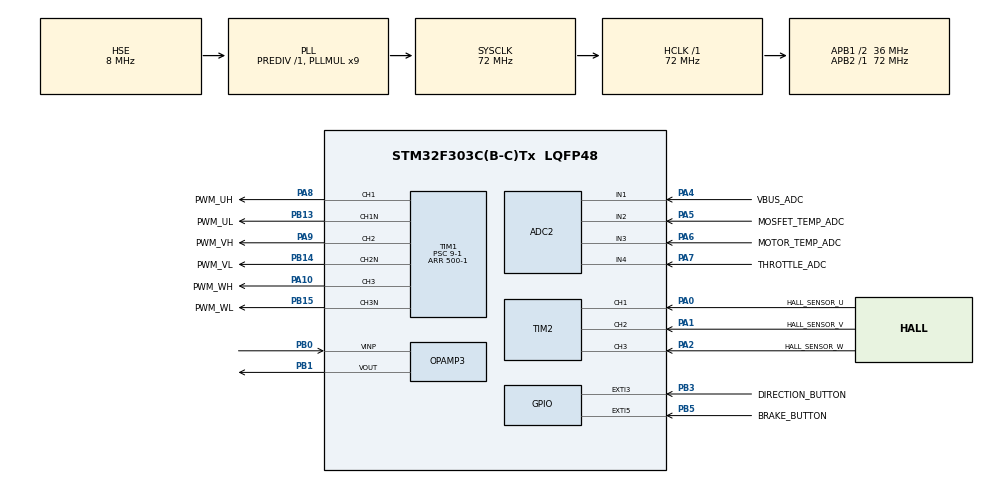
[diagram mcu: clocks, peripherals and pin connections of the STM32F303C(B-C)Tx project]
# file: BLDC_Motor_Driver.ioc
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ADC2.Channel-0\#ChannelRegularConversion=ADC_CHANNEL_1
ADC2.Channel-1\#ChannelRegularConversion=ADC_CHANNEL_2
ADC2.Channel-2\#ChannelRegularConversion=ADC_CHANNEL_4
ADC2.Channel-3\#ChannelRegularConversion=ADC_CHANNEL_4
ADC2.ContinuousConvMode=ENABLE
ADC2.DMAContinuousRequests=ENABLE
ADC2.NbrOfConversion=4
ADC2.NbrOfConversionFlag=1
ADC2.Offset-0\#ChannelRegularConversion=0
ADC2.Offset-1\#ChannelRegularConversion=0
ADC2.Offset-2\#ChannelRegularConversion=0
ADC2.Offset-3\#ChannelRegularConversion=0
ADC2.OffsetNumber-0\#ChannelRegularConversion=ADC_OFFSET_NONE
ADC2.OffsetNumber-1\#ChannelRegularConversion=ADC_OFFSET_NONE
ADC2.OffsetNumber-2\#ChannelRegularConversion=ADC_OFFSET_NONE
ADC2.OffsetNumber-3\#ChannelRegularConversion=ADC_OFFSET_NONE
ADC2.Rank-0\#ChannelRegularConversion=1
ADC2.Rank-1\#ChannelRegularConversion=2
ADC2.Rank-2\#ChannelRegularConversion=3
ADC2.Rank-3\#ChannelRegularConversion=4
ADC2.SamplingTime-0\#ChannelRegularConversion=ADC_SAMPLETIME_601CYCLES_5
ADC2.SamplingTime-1\#ChannelRegularConversion=ADC_SAMPLETIME_601CYCLES_5
ADC2.SamplingTime-2\#ChannelRegularConversion=ADC_SAMPLETIME_601CYCLES_5
ADC2.SamplingTime-3\#ChannelRegularConversion=ADC_SAMPLETIME_601CYCLES_5
ADC2.SamplingTimeOPAMP-1\#ChannelRegularConversion=ADC_SAMPLETIME_61CYCLES_5
ADC2.SamplingTimeOPAMP-2\#ChannelRegularConversion=ADC_SAMPLETIME_61CYCLES_5
ADC2.SamplingTimeOPAMP-3\#ChannelRegularConversion=ADC_SAMPLETIME_61CYCLES_5
ADC3.Channel-0\#ChannelRegularConversion=ADC_CHANNEL_1
ADC3.ContinuousConvMode=ENABLE
ADC3.DMAContinuousRequests=ENABLE
ADC3.NbrOfConversionFlag=1
ADC3.Offset-0\#ChannelRegularConversion=0
ADC3.OffsetNumber-0\#ChannelRegularConversion=ADC_OFFSET_NONE
ADC3.Rank-0\#ChannelRegularConversion=1
ADC3.SamplingTime-0\#ChannelRegularConversion=ADC_SAMPLETIME_601CYCLES_5
ADC3.SamplingTimeOPAMP-0\#ChannelRegularConversion=ADC_SAMPLETIME_601CYCLES_5
ADC3.master=1
Dma.ADC2.0.Direction=DMA_PERIPH_TO_MEMORY
Dma.ADC2.0.Instance=DMA2_Channel1
Dma.ADC2.0.MemDataAlignment=DMA_MDATAALIGN_HALFWORD
Dma.ADC2.0.MemInc=DMA_MINC_ENABLE
Dma.ADC2.0.Mode=DMA_CIRCULAR
Dma.ADC2.0.PeriphDataAlignment=DMA_PDATAALIGN_HALFWORD
Dma.ADC2.0.PeriphInc=DMA_PINC_DISABLE
Dma.ADC2.0.Priority=DMA_PRIORITY_LOW
Dma.ADC3.1.Direction=DMA_PERIPH_TO_MEMORY
Dma.ADC3.1.Instance=DMA2_Channel5
Dma.ADC3.1.MemDataAlignment=DMA_MDATAALIGN_HALFWORD
Dma.ADC3.1.MemInc=DMA_MINC_ENABLE
Dma.ADC3.1.Mode=DMA_CIRCULAR
Dma.ADC3.1.PeriphDataAlignment=DMA_PDATAALIGN_HALFWORD
Dma.ADC3.1.PeriphInc=DMA_PINC_DISABLE
Dma.ADC3.1.Priority=DMA_PRIORITY_LOW
Dma.Request0=ADC2
Dma.Request1=ADC3
Mcu.Family=STM32F3
Mcu.Name=STM32F303C(B-C)Tx
Mcu.Package=LQFP48
NVIC.DMA2_Channel1_IRQn=true\:0\:0\:false\:false\:true\:false\:true\:true
NVIC.DMA2_Channel5_IRQn=true\:0\:0\:false\:false\:true\:false\:true\:true
NVIC.EXTI3_IRQn=true\:0\:0\:false\:false\:true\:true\:true\:true
NVIC.EXTI9_5_IRQn=true\:0\:0\:false\:false\:true\:true\:true\:true
NVIC.PriorityGroup=NVIC_PRIORITYGROUP_4
NVIC.TIM2_IRQn=true\:0\:0\:false\:false\:true\:true\:true\:true
OPAMP3.PgaGain=OPAMP_PGA_GAIN_16
PA0.GPIO_Label=HALL_SENSOR_U
PA0.Signal=S_TIM2_CH1_ETR
PA1.GPIO_Label=HALL_SENSOR_V
PA1.Signal=S_TIM2_CH2
PA10.GPIO_Label=PWM_WH
PA10.Signal=S_TIM1_CH3
PA2.GPIO_Label=HALL_SENSOR_W
PA2.Signal=S_TIM2_CH3
PA4.GPIO_Label=VBUS_ADC
PA4.Mode=IN1-Single-Ended
PA4.Signal=ADC2_IN1
PA5.GPIO_Label=MOSFET_TEMP_ADC
PA5.Mode=IN2-Single-Ended
PA5.Signal=ADC2_IN2
PA6.GPIO_Label=MOTOR_TEMP_ADC
PA6.Mode=IN3-Single-Ended
PA6.Signal=ADC2_IN3
PA7.GPIO_Label=THROTTLE_ADC
PA7.Mode=IN4-Single-Ended
PA7.Signal=ADC2_IN4
PA8.GPIO_Label=PWM_UH
PA8.Signal=S_TIM1_CH1
PA9.GPIO_Label=PWM_VH
PA9.Signal=S_TIM1_CH2
PB0.Mode=PGA Not Connected
PB0.Signal=OPAMP3_VINP
PB1.Mode=PGA Not Connected
PB1.Signal=OPAMP3_VOUT
PB13.GPIO_Label=PWM_UL
PB13.Mode=PWM Generation1 CH1 CH1N
PB13.Signal=TIM1_CH1N
PB14.GPIO_Label=PWM_VL
PB14.Mode=PWM Generation2 CH2 CH2N
PB14.Signal=TIM1_CH2N
PB15.GPIO_Label=PWM_WL
PB15.Mode=PWM Generation3 CH3 CH3N
PB15.Signal=TIM1_CH3N
PB3.GPIO_Label=DIRECTION_BUTTON
PB3.GPIO_ModeDefaultEXTI=GPIO_MODE_IT_RISING_FALLING
PB3.GPIO_PuPd=GPIO_PULLUP
PB3.Signal=GPXTI3
PB5.GPIO_Label=BRAKE_BUTTON
PB5.GPIO_ModeDefaultEXTI=GPIO_MODE_IT_RISING_FALLING
PB5.GPIO_PuPd=GPIO_PULLUP
PB5.Signal=GPXTI5
PF0-OSC_IN.Mode=HSE-External-Oscillator
PF0-OSC_IN.Signal=RCC_OSC_IN
PF1-OSC_OUT.Mode=HSE-External-Oscillator
PF1-OSC_OUT.Signal=RCC_OSC_OUT
ProjectManager.HeapSize=0x200
ProjectManager.StackSize=0x400
ProjectManager.TargetToolchain=CMake
RCC.AHBFreq_Value=72000000
RCC.APB1CLKDivider=RCC_HCLK_DIV2
RCC.APB1Freq_Value=36000000
RCC.APB1TimFreq_Value=72000000
RCC.APB2Freq_Value=72000000
RCC.APB2TimFreq_Value=72000000
RCC.CortexFreq_Value=72000000
RCC.HCLKFreq_Value=72000000
RCC.HSE_VALUE=8000000
RCC.HSI_VALUE=8000000
RCC.LSE_VALUE=32768
RCC.PLLMUL=RCC_PLL_MUL9
RCC.PLLSourceVirtual=RCC_PLLSOURCE_HSE
RCC.SYSCLKFreq_VALUE=72000000
RCC.SYSCLKSourceVirtual=RCC_SYSCLKSOURCE_PLLCLK
RCC.USBFreq_Value=72000000
SH.S_TIM1_CH1.0=TIM1_CH1,PWM Generation1 CH1 CH1N
SH.S_TIM1_CH2.0=TIM1_CH2,PWM Generation2 CH2 CH2N
SH.S_TIM1_CH3.0=TIM1_CH3,PWM Generation3 CH3 CH3N
SH.S_TIM2_CH1_ETR.0=TIM2_CH1,Xored_Inputs_Hall_Sensor_Interface
SH.S_TIM2_CH2.0=TIM2_CH2,Xored_Inputs_Hall_Sensor_Interface
SH.S_TIM2_CH3.0=TIM2_CH3,Xored_Inputs_Hall_Sensor_Interface
TIM1.AutoReloadPreload=TIM_AUTORELOAD_PRELOAD_ENABLE
TIM1.Channel-PWM\ Generation1\ CH1\ CH1N=TIM_CHANNEL_1
TIM1.Channel-PWM\ Generation2\ CH2\ CH2N=TIM_CHANNEL_2
TIM1.Channel-PWM\ Generation3\ CH3\ CH3N=TIM_CHANNEL_3
TIM1.DeadTime=8
TIM1.Period=500-1
TIM1.Prescaler=9-1
VP_ADC3_OPAMP_OUT3.Mode=IN1-OPAMP3-Single-Ended
board=custom

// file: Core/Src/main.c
/* USER CODE BEGIN Header */
/**
  ******************************************************************************
  * @file           : main.c
  * @brief          : Main program body
  ******************************************************************************
  * @attention
  *
  * Copyright (c) 2025 STMicroelectronics.
  * All rights reserved.
  *
  * This software is licensed under terms that can be found in the LICENSE file
  * in the root directory of this software component.
  * If no LICENSE file comes with this software, it is provided AS-IS.
  *
  ******************************************************************************
  */
/* USER CODE END Header */
#include "main.h"
#include "adc.h"
#include "dma.h"
#include "opamp.h"
#include "tim.h"
#include "gpio.h"

/* USER CODE BEGIN Includes */
#include "motor_control.h"
#include "hal_adc.h"
#include "hal_timer.h"
#include "current_sensor.h"
#include "filter.h"

/* USER CODE END Includes */

/* USER CODE BEGIN PV */
uint16_t phase_current;
uint16_t phase_current_filtered;

/* USER CODE END PV */

void SystemClock_Config(void);

int main(void)
{

  /* MCU Configuration--------------------------------------------------------*/

  /* Reset of all peripherals, Initializes the Flash interface and the Systick. */
  HAL_Init();

  /* Configure the system clock */
  SystemClock_Config();

  /* Initialize all configured peripherals */
  MX_GPIO_Init();
  MX_DMA_Init();
  MX_ADC2_Init();
  MX_TIM2_Init();
  MX_TIM1_Init();
  MX_ADC3_Init();
  MX_OPAMP3_Init();
  /* USER CODE BEGIN 2 */
  hal_timer2_input_capture_start();
  app_motor_control_init();

  /* USER CODE END 2 */

  /* Infinite loop */
  /* USER CODE BEGIN WHILE */
  app_init();
  while (1)
  {
	  app_motor_control_task();
	  phase_current = ecal_current_sensor_get_phase_current();
	  HAL_Delay(10);
    /* USER CODE END WHILE */

  }
}

void SystemClock_Config(void)
{
  RCC_OscInitTypeDef RCC_OscInitStruct = {0};
  RCC_ClkInitTypeDef RCC_ClkInitStruct = {0};
  RCC_PeriphCLKInitTypeDef PeriphClkInit = {0};

  /** Initializes the RCC Oscillators according to the specified parameters
  * in the RCC_OscInitTypeDef structure.
  */
  RCC_OscInitStruct.OscillatorType = RCC_OSCILLATORTYPE_HSE;
  RCC_OscInitStruct.HSEState = RCC_HSE_ON;
  RCC_OscInitStruct.HSEPredivValue = RCC_HSE_PREDIV_DIV1;
  RCC_OscInitStruct.HSIState = RCC_HSI_ON;
  RCC_OscInitStruct.PLL.PLLState = RCC_PLL_ON;
  RCC_OscInitStruct.PLL.PLLSource = RCC_PLLSOURCE_HSE;
  RCC_OscInitStruct.PLL.PLLMUL = RCC_PLL_MUL9;
  if (HAL_RCC_OscConfig(&RCC_OscInitStruct) != HAL_OK)
  {
    Error_Handler();
  }

  /** Initializes the CPU, AHB and APB buses clocks
  */
  RCC_ClkInitStruct.ClockType = RCC_CLOCKTYPE_HCLK|RCC_CLOCKTYPE_SYSCLK
                              |RCC_CLOCKTYPE_PCLK1|RCC_CLOCKTYPE_PCLK2;
  RCC_ClkInitStruct.SYSCLKSource = RCC_SYSCLKSOURCE_PLLCLK;
  RCC_ClkInitStruct.AHBCLKDivider = RCC_SYSCLK_DIV1;
  RCC_ClkInitStruct.APB1CLKDivider = RCC_HCLK_DIV2;
  RCC_ClkInitStruct.APB2CLKDivider = RCC_HCLK_DIV1;

  if (HAL_RCC_ClockConfig(&RCC_ClkInitStruct, FLASH_LATENCY_2) != HAL_OK)
  {
    Error_Handler();
  }
  PeriphClkInit.PeriphClockSelection = RCC_PERIPHCLK_TIM1|RCC_PERIPHCLK_ADC12
                              |RCC_PERIPHCLK_ADC34;
  PeriphClkInit.Adc12ClockSelection = RCC_ADC12PLLCLK_DIV1;
  PeriphClkInit.Adc34ClockSelection = RCC_ADC34PLLCLK_DIV1;
  PeriphClkInit.Tim1ClockSelection = RCC_TIM1CLK_HCLK;
  if (HAL_RCCEx_PeriphCLKConfig(&PeriphClkInit) != HAL_OK)
  {
    Error_Handler();
  }
}

/* USER CODE BEGIN 4 */
void HAL_TIM_IC_CaptureCallback(TIM_HandleTypeDef *htim)
{
	app_motor_control_hall_interrupt_callback();
}

void HAL_GPIO_EXTI_Callback(uint16_t GPIO_Pin)
{
	if (GPIO_Pin == BRAKE_BUTTON_Pin) {
		app_motor_control_brake_interrupt_callback();
	} else if (GPIO_Pin == DIRECTION_BUTTON_Pin) {
		app_motor_control_direction_interrupt_callback();
	}
}

/* USER CODE END 4 */

void Error_Handler(void)
{
  __disable_irq();
  while (1)
  {
  }
}
